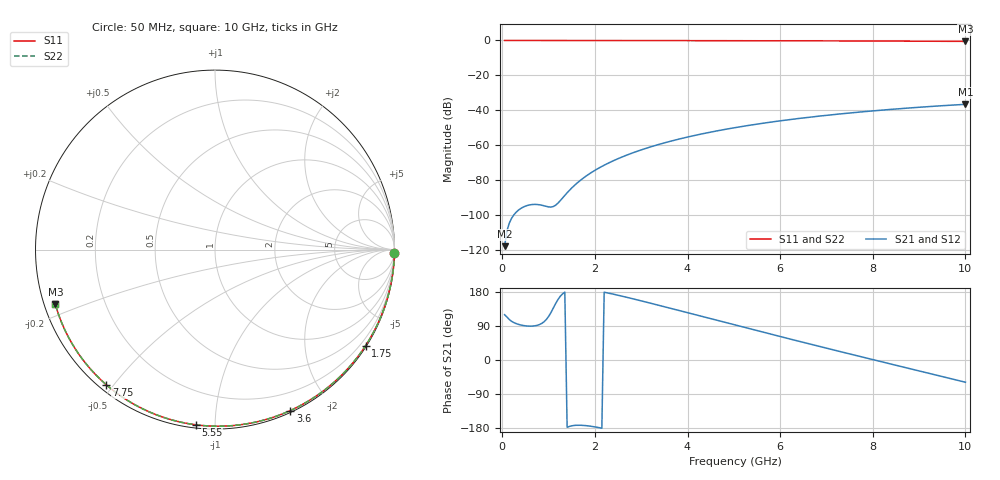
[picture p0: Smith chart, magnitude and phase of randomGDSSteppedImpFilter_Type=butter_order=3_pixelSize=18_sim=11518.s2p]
! freq	dB(S11)	phase(S11)	dB(S12)	phase(S12)
!  dB(S21)	phase(S21)	dB(S22)	phase(S22)
!S-par simulation data
#  GHz  S  DB  R 50
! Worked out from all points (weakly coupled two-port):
!   200 points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, 50 MHz to 10 GHz, reference 50 ohm
!   highest |S21| = -36.60 dB at 10 GHz (marker M1); lowest = -117.9 dB at 50 MHz (marker M2)
!   lowest |S11| = -0.5 dB at 10 GHz (marker M3), VSWR 32.45, Z = 1.58 - j8.3 ohm
!   |S11| at or under -10 dB: nowhere
!   |S22| runs from -0.5 to 0.0 dB; largest |S21 - S12| = 0
!   S11 on the Smith chart (normalised r, x): 50 MHz: open; 1.75 GHz: 0.03, -3.43; 3.6 GHz: 0.02, -1.57; 5.55 GHz: 0.02, -0.90; 7.75 GHz: 0.02, -0.48; 10 GHz: 0.03, -0.17
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0.05  -0.00 -0.9  -117.88 119.5  -117.88 119.5  -0.00 -0.9
0.45  -0.01 -8.5  -95.51 91.1  -95.51 91.1  -0.01 -8.5
0.85  -0.02 -16.0  -94.41 96.4  -94.41 96.4  -0.02 -16.0
1.65  -0.04 -30.7  -80.93 -172.1  -80.93 -172.1  -0.04 -30.7
1.7  -0.04 -31.6  -79.86 -172.2  -79.86 -172.2  -0.04 -31.6
1.75  -0.04 -32.5  -78.85 -172.6  -78.85 -172.6  -0.04 -32.5
1.9  -0.04 -35.2  -76.08 -174.6  -76.08 -174.6  -0.04 -35.2
2.05  -0.05 -37.9  -73.65 -177.6  -73.65 -177.6  -0.05 -37.9
2.25  -0.05 -41.5  -70.81 177.6  -70.81 177.6  -0.05 -41.5
2.45  -0.06 -45.1  -68.31 172.3  -68.31 172.3  -0.06 -45.1
2.9  -0.07 -52.9  -63.62 159.1  -63.62 159.1  -0.07 -52.9
3.4  -0.08 -61.5  -59.43 143.7  -59.43 143.7  -0.08 -61.5
3.6  -0.09 -64.9  -57.97 137.4  -57.97 137.4  -0.09 -64.9
4.3  -0.11 -76.5  -53.60 115.3  -53.60 115.3  -0.11 -76.5
5.05  -0.14 -88.5  -49.85 91.7  -49.85 91.7  -0.14 -88.5
5.55  -0.16 -96.2  -47.74 76.0  -47.74 76.0  -0.16 -96.2
6.1  -0.19 -104.6  -45.71 58.8  -45.71 58.8  -0.19 -104.6
6.7  -0.22 -113.5  -43.78 40.4  -43.78 40.4  -0.22 -113.5
7.75  -0.30 -128.8  -40.95 8.5  -40.95 8.5  -0.30 -128.8
8.35  -0.35 -137.4  -39.58 -9.4  -39.58 -9.4  -0.35 -137.4
9.2  -0.44 -149.5  -37.91 -34.7  -37.91 -34.7  -0.44 -149.5
10  -0.54 -161.1  -36.60 -58.6  -36.60 -58.6  -0.54 -161.1
